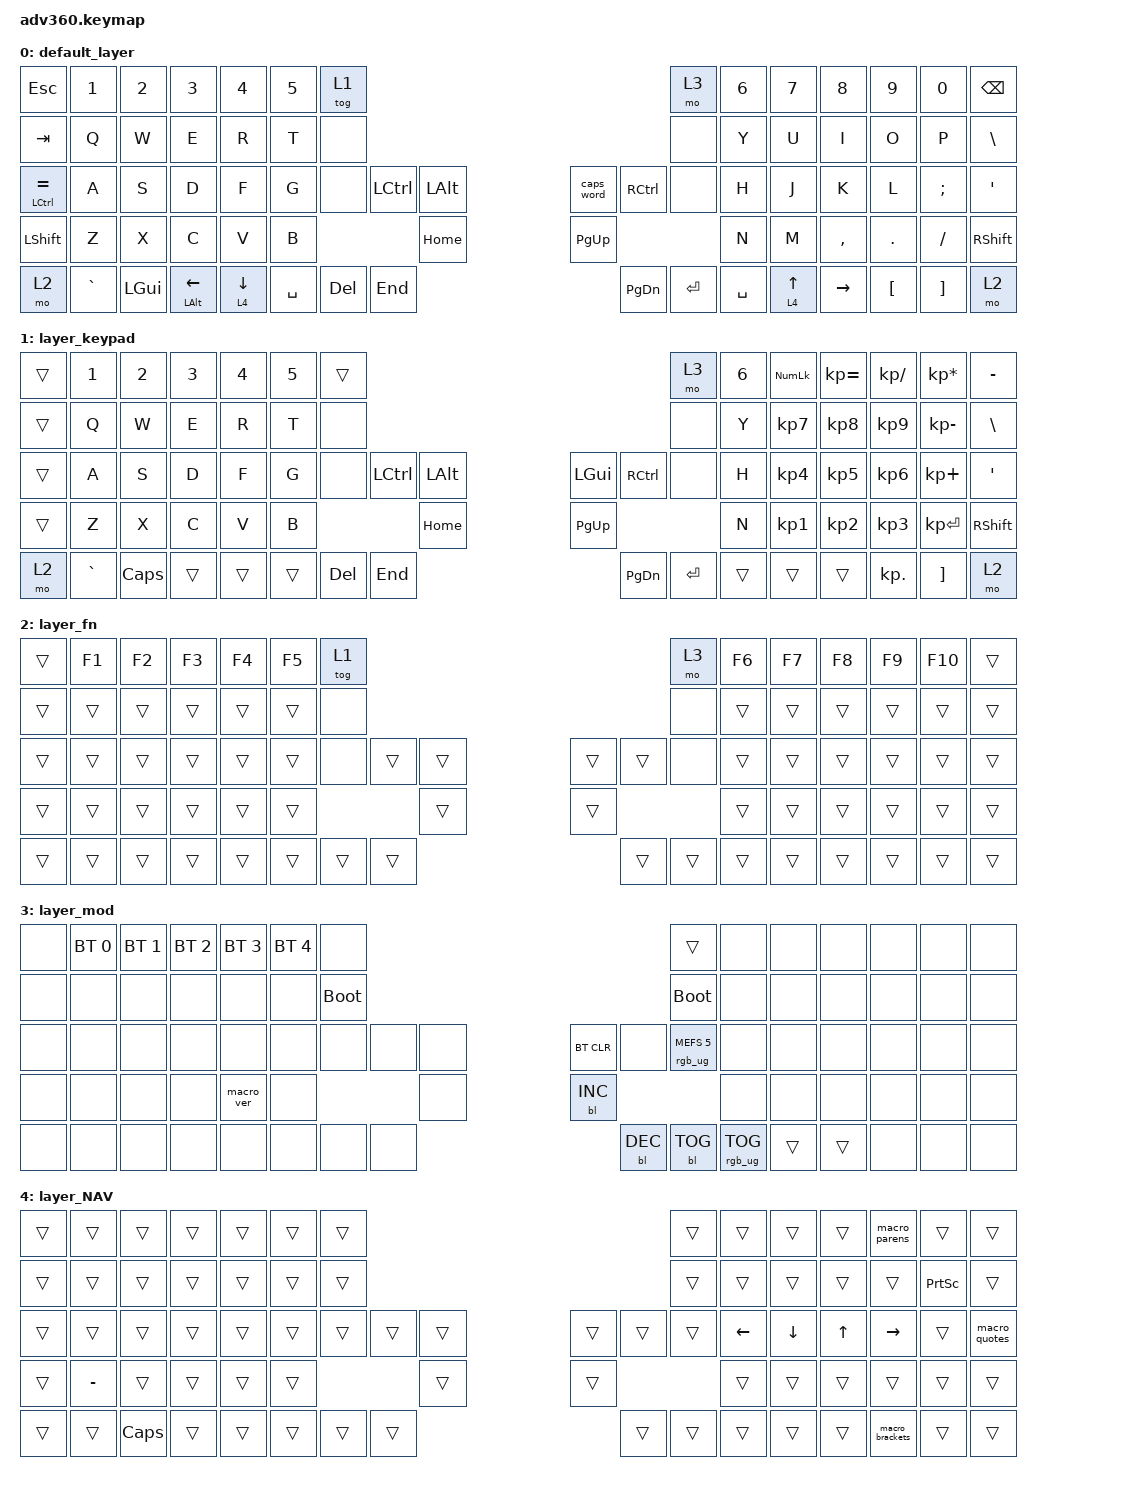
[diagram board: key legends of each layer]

/*
 * Copyright (c) 2020 The ZMK Contributors
 *
 * SPDX-License-Identifier: MIT
 */


/* THIS FILE WAS GENERATED!
 *
 * This file was generated automatically. You may or may not want to
 * edit it directly.
 */

#include <behaviors.dtsi>
#include <dt-bindings/zmk/keys.h>
#include <dt-bindings/zmk/bt.h>
#include <dt-bindings/zmk/rgb.h>
#include <dt-bindings/zmk/backlight.h>

/ {
  behaviors {
    #include "macros.dtsi"
    #include "version.dtsi"

    hm: homerow_mods {
        compatible = "zmk,behavior-hold-tap";
        label = "HOMEROW_MODS";
        #binding-cells = <2>;
        tapping-term-ms = <200>;
        quick_tap_ms = <175>;
        flavor = "tap-preferred";
        bindings = <&kp>, <&kp>;
    };
  };

    keymap {
        compatible = "zmk,keymap";


        default_layer {
            bindings = <
         &kp ESC     &kp N1    &kp N2                   &kp N3      &kp N4  &kp N5               &tog 1                                                                  &mo 3  &kp N6    &kp N7     &kp N8            &kp N9    &kp N0          &kp BSPC
         &kp TAB      &kp Q     &kp W                    &kp E       &kp R   &kp T                &none                                                                  &none   &kp Y     &kp U      &kp I             &kp O     &kp P          &kp BSLH
 &mt LCTRL EQUAL      &kp A     &kp S                    &kp D       &kp F   &kp G                &none  &kp LCTRL  &kp LALT                  &caps_word  &kp RCTRL      &none   &kp H     &kp J      &kp K             &kp L  &kp SEMI  &kp SINGLE_QUOTE
       &kp LSHFT      &kp Z     &kp X                    &kp C       &kp V   &kp B                                  &kp HOME                   &kp PG_UP                         &kp N     &kp M  &kp COMMA           &kp DOT  &kp FSLH         &kp RSHFT
           &mo 2  &kp GRAVE  &kp LGUI  &mt LEFT_ALT LEFT_ARROW  &lt 4 DOWN                    &kp SPACE    &kp DEL   &kp END                   &kp PG_DN  &kp ENTER  &kp SPACE          &lt 4 UP  &kp RIGHT  &kp LEFT_BRACKET  &kp RBKT             &mo 2
            >;
        };

        layer_keypad {
            bindings = <
 &trans     &kp N1    &kp N2  &kp N3  &kp N4  &kp N5            &trans                                                              &mo 3  &kp N6  &kp KP_NUM  &kp KP_EQUAL  &kp KP_DIVIDE  &kp KP_MULTIPLY  &kp MINUS
 &trans      &kp Q     &kp W   &kp E   &kp R   &kp T             &none                                                              &none   &kp Y   &kp KP_N7     &kp KP_N8      &kp KP_N9     &kp KP_MINUS   &kp BSLH
 &trans      &kp A     &kp S   &kp D   &kp F   &kp G             &none  &kp LCTRL  &kp LALT                   &kp LGUI  &kp RCTRL   &none   &kp H   &kp KP_N4     &kp KP_N5      &kp KP_N6      &kp KP_PLUS    &kp SQT
 &trans      &kp Z     &kp X   &kp C   &kp V   &kp B                               &kp HOME                  &kp PG_UP                      &kp N   &kp KP_N1     &kp KP_N2      &kp KP_N3     &kp KP_ENTER  &kp RSHFT
  &mo 2  &kp GRAVE  &kp CAPS  &trans  &trans                    &trans    &kp DEL   &kp END                  &kp PG_DN  &kp ENTER  &trans              &trans        &trans     &kp KP_DOT         &kp RBKT      &mo 2
            >;
        };

        layer_fn {
            bindings = <
 &trans  &kp F1  &kp F2  &kp F3  &kp F4  &kp F5            &tog 1                                                   &mo 3  &kp F6  &kp F7  &kp F8  &kp F9  &kp F10  &trans
 &trans  &trans  &trans  &trans  &trans  &trans             &none                                                   &none  &trans  &trans  &trans  &trans   &trans  &trans
 &trans  &trans  &trans  &trans  &trans  &trans             &none  &trans  &trans                  &trans  &trans   &none  &trans  &trans  &trans  &trans   &trans  &trans
 &trans  &trans  &trans  &trans  &trans  &trans                            &trans                  &trans                  &trans  &trans  &trans  &trans   &trans  &trans
 &trans  &trans  &trans  &trans  &trans                    &trans  &trans  &trans                  &trans  &trans  &trans          &trans  &trans  &trans   &trans  &trans
            >;
        };

        layer_mod {
            bindings = <
  &none  &bt BT_SEL 0  &bt BT_SEL 1  &bt BT_SEL 2  &bt BT_SEL 3  &bt BT_SEL 4                  &none                                                                          &trans   &none   &none   &none   &none   &none   &none
  &none         &none         &none         &none         &none         &none            &bootloader                                                                     &bootloader   &none   &none   &none   &none   &none   &none
  &none         &none         &none         &none         &none         &none                  &none   &none   &none                  &bt BT_CLR       &none  &rgb_ug RGB_MEFS_CMD 5   &none   &none   &none   &none   &none   &none
  &none         &none         &none         &none    &macro_ver         &none                                  &none                  &bl BL_INC                                       &none   &none   &none   &none   &none   &none
  &none         &none         &none         &none         &none                                &none   &none   &none                  &bl BL_DEC  &bl BL_TOG         &rgb_ug RGB_TOG          &trans  &trans   &none   &none   &none
            >;
        };

        layer_NAV {
            bindings = <
 &trans     &trans    &trans  &trans  &trans  &trans            &trans                                                  &trans    &trans    &trans  &trans    &macro_parens           &trans         &trans
 &trans     &trans    &trans  &trans  &trans  &trans            &trans                                                  &trans    &trans    &trans  &trans           &trans  &kp PRINTSCREEN         &trans
 &trans     &trans    &trans  &trans  &trans  &trans            &trans  &trans  &trans                  &trans  &trans  &trans  &kp LEFT  &kp DOWN  &kp UP        &kp RIGHT           &trans  &macro_quotes
 &trans  &kp MINUS    &trans  &trans  &trans  &trans                            &trans                  &trans                    &trans    &trans  &trans           &trans           &trans         &trans
 &trans     &trans  &kp CAPS  &trans  &trans                    &trans  &trans  &trans                  &trans  &trans  &trans              &trans  &trans  &macro_brackets           &trans         &trans
            >;
        };

    };
};
